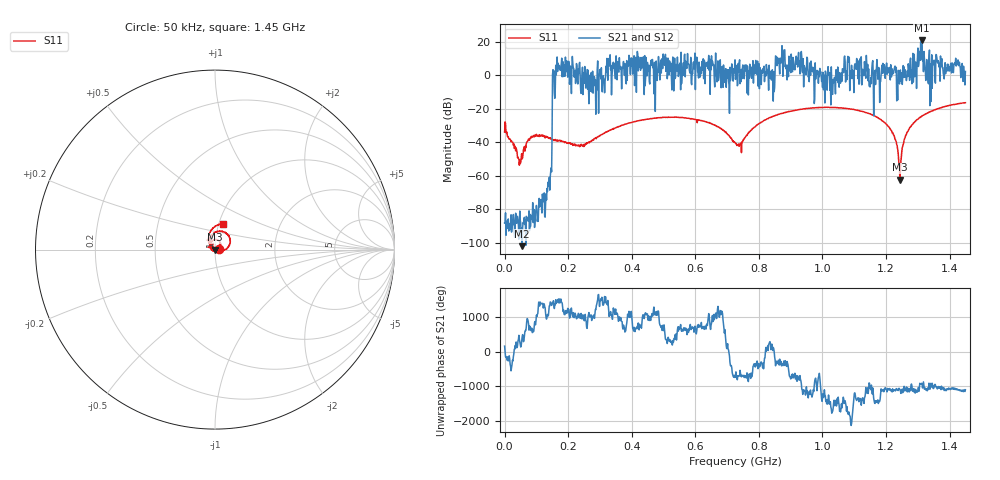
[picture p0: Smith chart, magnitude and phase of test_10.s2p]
! Created with skrf 1.11.0 (http://scikit-rf.org).
# Hz S RI R 50.0
!freq ReS11 ImS11 ReS21 ImS21 ReS12 ImS12 ReS22 ImS22
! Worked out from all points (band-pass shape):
!   1001 points, 50 kHz to 1.45 GHz, reference 50 ohm
!   highest |S21| = 20.75 dB at 1.312 GHz (marker M1); lowest = -101.9 dB at 55.15 MHz (marker M2)
!   |S21| within 3 dB of the highest: 1.309071 GHz to 1.30966 GHz (589.2 kHz wide, 0.045 % of centre); 1.311862 GHz to 1.31323 GHz (1.369 MHz wide, 0.104 % of centre)
!   lowest |S11| = -62.3 dB at 1.244 GHz (marker M3), VSWR 1.00, Z = 49.9 - j0.0132 ohm
!   |S11| at or under -10 dB: start of sweep to end of sweep
!   |S22| runs from - to - dB; largest |S21 - S12| = 0
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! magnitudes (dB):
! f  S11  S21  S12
! 50 kHz  -33.9  -88.1  -88.1
! 55.15 MHz  -49.9  -101.9  -101.9
! 82.7 MHz  -37.5  -86.6  -86.6
! 134.9 MHz  -36.6  -69.3  -69.3
! 142.1 MHz  -37.7  -68.5  -68.5
! 158.1 MHz  -38.9  -13.7  -13.7
! 168.2 MHz  -39.3  7.2  7.2
! 242.2 MHz  -41.7  -4.9  -4.9
! 484.3 MHz  -25.3  11.2  11.2
! 725 MHz  -40.0  9.2  9.2
! 842.5 MHz  -24.6  3.3  3.3
! 874.4 MHz  -22.6  9.7  9.7
! 967.2 MHz  -19.5  3.2  3.2
! 1.034 GHz  -19.2  -2.4  -2.4
! 1.076 GHz  -19.8  2.4  2.4
! 1.209 GHz  -30.7  2.1  2.1
! 1.244 GHz  -62.3  2.1  2.1
! 1.269 GHz  -33.5  -0.7  -0.7
! 1.312 GHz  -24.6  20.7  20.7
! 1.338 GHz  -21.8  -18.1  -18.1
! 1.364 GHz  -19.9  8.7  8.7
! 1.45 GHz  -16.3  2.3  2.3
